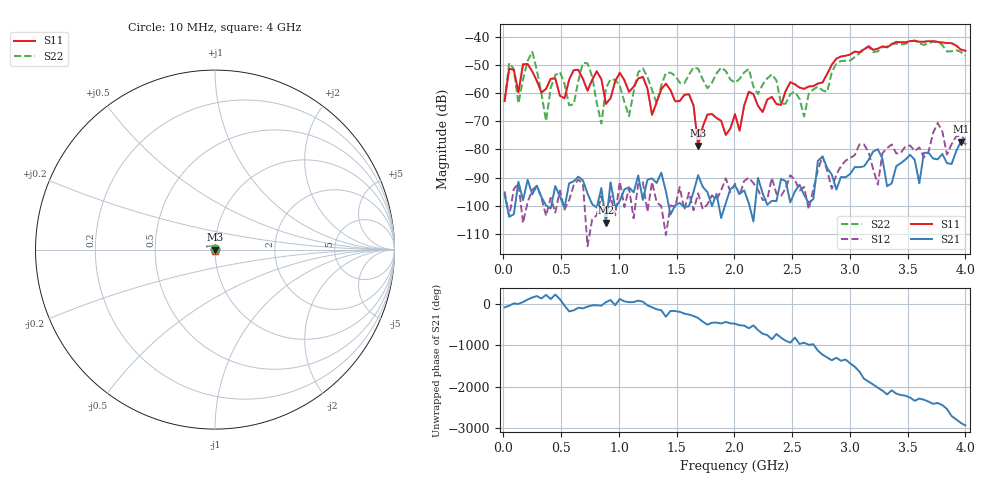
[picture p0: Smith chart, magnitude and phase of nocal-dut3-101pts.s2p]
! PocketVna 1.81  pocketvna.com
! Live measurements ((Reflection-S11, Transmission-S21, Transmission-S12, Reflection-S22) Linear 10000000-4000000000/101 non-calibrated)
# GHz S MA R 50
! GHz  |S11|  <S11  |S21|  <S21  |S12|  <S12  |S22|  <S22
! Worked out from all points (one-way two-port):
!   101 points, 10 MHz to 4 GHz, reference 50 ohm
!   highest |S21| = -77.27 dB at 3.96 GHz (marker M1); lowest = -106.1 dB at 887.8 MHz (marker M2)
!   lowest |S11| = -78.7 dB at 1.686 GHz (marker M3), VSWR 1.00, Z = 50 - j0.000667 ohm
!   |S11| at or under -10 dB: start of sweep to end of sweep
!   |S22| runs from -70.8 to -41.3 dB; largest |S21 - S12| = 0.00027
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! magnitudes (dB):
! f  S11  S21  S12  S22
! 10 MHz  -62.8  -96.1  -94.9  -62.8
! 49.9 MHz  -51.4  -103.9  -103.9  -49.3
! 129.7 MHz  -59.7  -91.5  -92.1  -63.7
! 249.4 MHz  -52.3  -96.0  -94.4  -45.4
! 369.1 MHz  -58.5  -99.9  -103.6  -69.9
! 448.9 MHz  -54.8  -93.0  -102.4  -53.6
! 608.5 MHz  -51.9  -91.3  -92.7  -64.0
! 688.3 MHz  -55.0  -91.0  -92.2  -49.2
! 847.9 MHz  -55.1  -93.7  -96.6  -70.8
! 887.8 MHz  -63.9  -106.1  -104.7  -58.3
! 1.087 GHz  -59.6  -93.5  -93.8  -68.2
! 1.167 GHz  -54.8  -89.3  -92.3  -52.6
! 1.287 GHz  -67.7  -90.3  -91.6  -58.9
! 1.367 GHz  -58.7  -88.3  -100.2  -57.3
! 1.606 GHz  -60.4  -100.2  -95.4  -53.6
! 1.686 GHz  -78.7  -89.2  -95.6  -51.3
! 2.005 GHz  -67.5  -92.9  -92.2  -56.3
! 2.603 GHz  -58.5  -96.2  -93.4  -68.3
! 2.683 GHz  -57.5  -97.7  -94.2  -58.7
! 3.362 GHz  -42.7  -92.1  -78.3  -42.5
! 3.96 GHz  -44.5  -77.3  -75.2  -45.4
! 4 GHz  -45.0  -78.0  -76.6  -46.8
